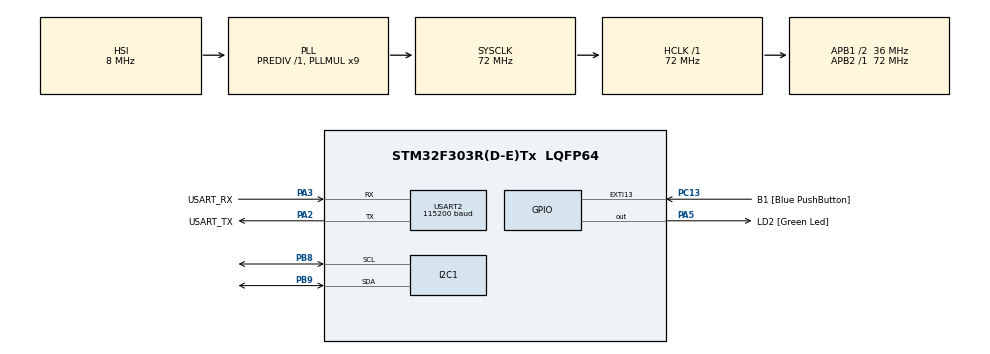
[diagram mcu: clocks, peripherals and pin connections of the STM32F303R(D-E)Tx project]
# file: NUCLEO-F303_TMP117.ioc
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I2C1.Timing=0x00201D2B
Mcu.Family=STM32F3
Mcu.Name=STM32F303R(D-E)Tx
Mcu.Package=LQFP64
NVIC.PriorityGroup=NVIC_PRIORITYGROUP_0
PA13.GPIO_Label=TMS
PA13.Mode=Serial_Wire
PA13.Signal=SYS_JTMS-SWDIO
PA14.GPIO_Label=TCK
PA14.Mode=Serial_Wire
PA14.Signal=SYS_JTCK-SWCLK
PA2.GPIO_Label=USART_TX
PA2.GPIO_Mode=GPIO_MODE_AF_PP
PA2.GPIO_PuPd=GPIO_NOPULL
PA2.GPIO_Speed=GPIO_SPEED_FREQ_LOW
PA2.Mode=Asynchronous
PA2.Signal=USART2_TX
PA3.GPIO_Label=USART_RX
PA3.GPIO_Mode=GPIO_MODE_AF_PP
PA3.GPIO_PuPd=GPIO_NOPULL
PA3.GPIO_Speed=GPIO_SPEED_FREQ_LOW
PA3.Mode=Asynchronous
PA3.Signal=USART2_RX
PA5.GPIO_Label=LD2 [Green Led]
PA5.GPIO_Mode=GPIO_MODE_OUTPUT_PP
PA5.GPIO_PuPd=GPIO_NOPULL
PA5.GPIO_Speed=GPIO_SPEED_FREQ_LOW
PA5.Signal=GPIO_Output
PB3.GPIO_Label=SWO
PB3.Signal=SYS_JTDO-TRACESWO
PB8.Mode=I2C
PB8.Signal=I2C1_SCL
PB9.Mode=I2C
PB9.Signal=I2C1_SDA
PC13.GPIO_Label=B1 [Blue PushButton]
PC13.GPIO_ModeDefaultEXTI=GPIO_MODE_IT_FALLING
PC13.Signal=GPXTI13
PC14-OSC32_IN.Mode=LSE-External-Oscillator
PC14-OSC32_IN.Signal=RCC_OSC32_IN
PC15-OSC32_OUT.Mode=LSE-External-Oscillator
PC15-OSC32_OUT.Signal=RCC_OSC32_OUT
PF0-OSC_IN.Mode=HSE-External-Clock-Source
PF0-OSC_IN.Signal=RCC_OSC_IN
PF1-OSC_OUT.Signal=RCC_OSC_OUT
ProjectManager.HeapSize=0x200
ProjectManager.StackSize=0x400
ProjectManager.TargetToolchain=CMake
RCC.AHBFreq_Value=72000000
RCC.APB1CLKDivider=RCC_HCLK_DIV2
RCC.APB1Freq_Value=36000000
RCC.APB1TimFreq_Value=72000000
RCC.APB2Freq_Value=72000000
RCC.APB2TimFreq_Value=72000000
RCC.CortexFreq_Value=72000000
RCC.HCLKFreq_Value=72000000
RCC.HSE_VALUE=8000000
RCC.HSI_VALUE=8000000
RCC.PLLM=8
RCC.PLLMUL=RCC_PLL_MUL9
RCC.PLLN=336
RCC.PLLP=RCC_PLLP_DIV4
RCC.PLLQ=7
RCC.RCC_PLLsource_Clock_Source_FROM_HSE=RCC_HSE_PREDIV_DIV2
RCC.SYSCLKFreq_VALUE=72000000
RCC.SYSCLKSourceVirtual=RCC_SYSCLKSOURCE_PLLCLK
RCC.USBFreq_Value=72000000
USART2.BaudRate=115200
USART2.VirtualMode-Asynchronous=VM_ASYNC
board=NUCLEO-F303RE

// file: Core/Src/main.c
/* USER CODE BEGIN Header */
/**
  ******************************************************************************
  * @file           : main.c
  * @brief          : Main program body
  ******************************************************************************
  * @attention
  *
  * Copyright (c) 2026 STMicroelectronics.
  * All rights reserved.
  *
  * This software is licensed under terms that can be found in the LICENSE file
  * in the root directory of this software component.
  * If no LICENSE file comes with this software, it is provided AS-IS.
  *
  ******************************************************************************
  */
/* USER CODE END Header */
#include "main.h"
#include "stm32f3xx_hal.h"

/* USER CODE BEGIN Includes */
#include <TMP117.h>
#include <stdio.h>
#include <string.h>
/* USER CODE END Includes */

/* USER CODE BEGIN PTD */
TMP117_HandleTypeDef tmp117;
//TMP117_HandleTypeDef *p_tmp117 = &tmp117;
/* USER CODE END PTD */

I2C_HandleTypeDef hi2c1;

UART_HandleTypeDef huart2;

/* USER CODE BEGIN PV */
char msg[32];
double lowLimitTemp   = 50.0;
double highLimitTemp  = 100.0;
double temp           = 0.0;
/* USER CODE END PV */

void SystemClock_Config(void);
static void MX_GPIO_Init(void);
static void MX_I2C1_Init(void);
static void MX_USART2_UART_Init(void);

int main(void)
{

  /* MCU Configuration--------------------------------------------------------*/

  /* Reset of all peripherals, Initializes the Flash interface and the Systick. */
  HAL_Init();

  /* Configure the system clock */
  SystemClock_Config();

  /* Initialize all configured peripherals */
  MX_GPIO_Init();
  MX_I2C1_Init();
  MX_USART2_UART_Init();
  /* USER CODE BEGIN 2 */
  HAL_Delay(2);

  TMP117_Init(&tmp117, &hi2c1, TMP117_ADDRESS);

  if (TMP117_SetConvTime(&tmp117, TMP117_CONV_4_S) != HAL_OK)
  {
    char buffer[100];
    snprintf(buffer, sizeof(buffer), "ERROR: requested time (%.1f ms) is less than active time (%.1f ms)\r\n", tmp117._requestedTime, tmp117._activeTime);
    HAL_UART_Transmit(&huart2, (uint8_t *)buffer, strlen(buffer), HAL_MAX_DELAY);
  }

  TMP117_SetLowLimit_C(&tmp117, lowLimitTemp);
  TMP117_SetHighLimit_C(&tmp117, highLimitTemp);
  /* USER CODE END 2 */

  /* Infinite loop */
  /* USER CODE BEGIN WHILE */
  while (1)
  {
    _Bool isDataReady = TMP117_IsDataReady(&tmp117);

    if (isDataReady)
    {
      temp = TMP117_GetTemperature_C(&tmp117);

      snprintf(msg, sizeof(msg), "Temperature: %.2f %cC\r\n", temp, 0xB0);
      HAL_UART_Transmit(&huart2, (uint8_t *)msg, strlen(msg), HAL_MAX_DELAY);
    }
    /* USER CODE END WHILE */

  }
}

void SystemClock_Config(void)
{
  RCC_OscInitTypeDef RCC_OscInitStruct = {0};
  RCC_ClkInitTypeDef RCC_ClkInitStruct = {0};
  RCC_PeriphCLKInitTypeDef PeriphClkInit = {0};

  /** Initializes the RCC Oscillators according to the specified parameters
  * in the RCC_OscInitTypeDef structure.
  */
  RCC_OscInitStruct.OscillatorType = RCC_OSCILLATORTYPE_HSI;
  RCC_OscInitStruct.HSIState = RCC_HSI_ON;
  RCC_OscInitStruct.HSICalibrationValue = RCC_HSICALIBRATION_DEFAULT;
  RCC_OscInitStruct.PLL.PLLState = RCC_PLL_ON;
  RCC_OscInitStruct.PLL.PLLSource = RCC_PLLSOURCE_HSI;
  RCC_OscInitStruct.PLL.PLLMUL = RCC_PLL_MUL9;
  RCC_OscInitStruct.PLL.PREDIV = RCC_PREDIV_DIV1;
  if (HAL_RCC_OscConfig(&RCC_OscInitStruct) != HAL_OK)
  {
    Error_Handler();
  }

  /** Initializes the CPU, AHB and APB buses clocks
  */
  RCC_ClkInitStruct.ClockType = RCC_CLOCKTYPE_HCLK|RCC_CLOCKTYPE_SYSCLK
                              |RCC_CLOCKTYPE_PCLK1|RCC_CLOCKTYPE_PCLK2;
  RCC_ClkInitStruct.SYSCLKSource = RCC_SYSCLKSOURCE_PLLCLK;
  RCC_ClkInitStruct.AHBCLKDivider = RCC_SYSCLK_DIV1;
  RCC_ClkInitStruct.APB1CLKDivider = RCC_HCLK_DIV2;
  RCC_ClkInitStruct.APB2CLKDivider = RCC_HCLK_DIV1;

  if (HAL_RCC_ClockConfig(&RCC_ClkInitStruct, FLASH_LATENCY_2) != HAL_OK)
  {
    Error_Handler();
  }
  PeriphClkInit.PeriphClockSelection = RCC_PERIPHCLK_USART2|RCC_PERIPHCLK_I2C1;
  PeriphClkInit.Usart2ClockSelection = RCC_USART2CLKSOURCE_PCLK1;
  PeriphClkInit.I2c1ClockSelection = RCC_I2C1CLKSOURCE_HSI;
  if (HAL_RCCEx_PeriphCLKConfig(&PeriphClkInit) != HAL_OK)
  {
    Error_Handler();
  }
}

static void MX_I2C1_Init(void)
{

  hi2c1.Instance = I2C1;
  hi2c1.Init.Timing = 0x00201D2B;
  hi2c1.Init.OwnAddress1 = 0;
  hi2c1.Init.AddressingMode = I2C_ADDRESSINGMODE_7BIT;
  hi2c1.Init.DualAddressMode = I2C_DUALADDRESS_DISABLE;
  hi2c1.Init.OwnAddress2 = 0;
  hi2c1.Init.OwnAddress2Masks = I2C_OA2_NOMASK;
  hi2c1.Init.GeneralCallMode = I2C_GENERALCALL_DISABLE;
  hi2c1.Init.NoStretchMode = I2C_NOSTRETCH_DISABLE;
  if (HAL_I2C_Init(&hi2c1) != HAL_OK)
  {
    Error_Handler();
  }

  /** Configure Analogue filter
  */
  if (HAL_I2CEx_ConfigAnalogFilter(&hi2c1, I2C_ANALOGFILTER_ENABLE) != HAL_OK)
  {
    Error_Handler();
  }

  /** Configure Digital filter
  */
  if (HAL_I2CEx_ConfigDigitalFilter(&hi2c1, 0) != HAL_OK)
  {
    Error_Handler();
  }

}

static void MX_USART2_UART_Init(void)
{

  huart2.Instance = USART2;
  huart2.Init.BaudRate = 115200;
  huart2.Init.WordLength = UART_WORDLENGTH_8B;
  huart2.Init.StopBits = UART_STOPBITS_1;
  huart2.Init.Parity = UART_PARITY_NONE;
  huart2.Init.Mode = UART_MODE_TX_RX;
  huart2.Init.HwFlowCtl = UART_HWCONTROL_NONE;
  huart2.Init.OverSampling = UART_OVERSAMPLING_16;
  huart2.Init.OneBitSampling = UART_ONE_BIT_SAMPLE_DISABLE;
  huart2.AdvancedInit.AdvFeatureInit = UART_ADVFEATURE_NO_INIT;
  if (HAL_UART_Init(&huart2) != HAL_OK)
  {
    Error_Handler();
  }

}

static void MX_GPIO_Init(void)
{
  GPIO_InitTypeDef GPIO_InitStruct = {0};

  /* GPIO Ports Clock Enable */
  __HAL_RCC_GPIOC_CLK_ENABLE();
  __HAL_RCC_GPIOF_CLK_ENABLE();
  __HAL_RCC_GPIOA_CLK_ENABLE();
  __HAL_RCC_GPIOB_CLK_ENABLE();

  /*Configure GPIO pin Output Level */
  HAL_GPIO_WritePin(LD2_GPIO_Port, LD2_Pin, GPIO_PIN_RESET);

  /*Configure GPIO pin : B1_Pin */
  GPIO_InitStruct.Pin = B1_Pin;
  GPIO_InitStruct.Mode = GPIO_MODE_IT_FALLING;
  GPIO_InitStruct.Pull = GPIO_NOPULL;
  HAL_GPIO_Init(B1_GPIO_Port, &GPIO_InitStruct);

  /*Configure GPIO pin : LD2_Pin */
  GPIO_InitStruct.Pin = LD2_Pin;
  GPIO_InitStruct.Mode = GPIO_MODE_OUTPUT_PP;
  GPIO_InitStruct.Pull = GPIO_NOPULL;
  GPIO_InitStruct.Speed = GPIO_SPEED_FREQ_LOW;
  HAL_GPIO_Init(LD2_GPIO_Port, &GPIO_InitStruct);

}

void Error_Handler(void)
{
  __disable_irq();
  while (1)
  {
  }
}
